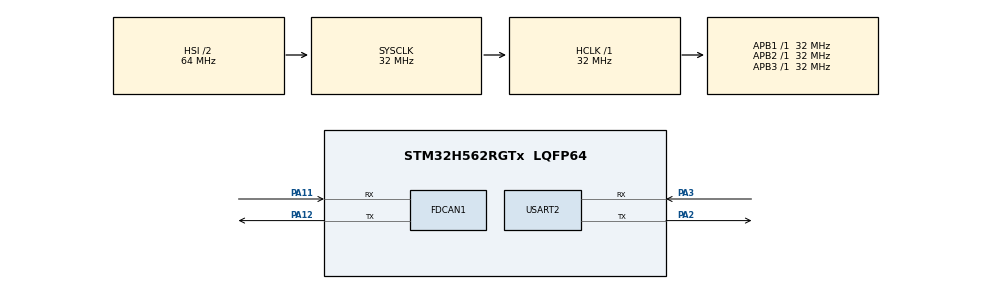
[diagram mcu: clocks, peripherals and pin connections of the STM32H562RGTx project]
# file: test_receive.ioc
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CORTEX_M33_NS.userName=CORTEX_M33
FDCAN1.CalculateBaudRateNominal=312500
FDCAN1.CalculateTimeBitNominal=3200
FDCAN1.CalculateTimeQuantumNominal=640.0
Mcu.Family=STM32H5
Mcu.Name=STM32H562RGTx
Mcu.Package=LQFP64
NVIC.FDCAN1_IT0_IRQn=true\:0\:0\:false\:false\:true\:true\:true\:true
NVIC.FDCAN1_IT1_IRQn=true\:0\:0\:false\:false\:true\:true\:true\:true
NVIC.PriorityGroup=NVIC_PRIORITYGROUP_4
NVIC.USART2_IRQn=true\:0\:0\:false\:false\:true\:true\:true\:true
PA11.Mode=FDCAN_Activate
PA11.Signal=FDCAN1_RX
PA12.Mode=FDCAN_Activate
PA12.Signal=FDCAN1_TX
PA2.Mode=Asynchronous
PA2.Signal=USART2_TX
PA3.Mode=Asynchronous
PA3.Signal=USART2_RX
ProjectManager.HeapSize=0x200
ProjectManager.StackSize=0x400
ProjectManager.TargetToolchain=STM32CubeIDE
RCC.ADCFreq_Value=32000000
RCC.AHBFreq_Value=32000000
RCC.APB1Freq_Value=32000000
RCC.APB1TimFreq_Value=32000000
RCC.APB2Freq_Value=32000000
RCC.APB2TimFreq_Value=32000000
RCC.APB3Freq_Value=32000000
RCC.CSI_VALUE=4000000
RCC.CortexFreq_Value=32000000
RCC.EPOD_VALUE=4000000
RCC.HCLKFreq_Value=32000000
RCC.HSE_VALUE=25000000
RCC.HSI48_VALUE=48000000
RCC.HSI_VALUE=64000000
RCC.LSE_VALUE=32768
RCC.LSIRC_VALUE=32000
RCC.SYSCLKFreq_VALUE=32000000
RCC.USBFreq_Value=48000000
RCC.VCOOutputFreq_Value=516000000
USART2.VirtualMode=VM_ASYNC
VP_BOOTPATH_VS_BOOTPATH.Mode=BP_Activate
VP_MEMORYMAP_VS_MEMORYMAP.Mode=CurAppReg
VP_PWR_VS_DBSignals.Mode=DisableDeadBatterySignals
VP_PWR_VS_LPOM.Mode=PowerOptimisation
VP_PWR_VS_SECSignals.Mode=Security/Privilege
board=custom

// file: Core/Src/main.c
/* USER CODE BEGIN Header */
/**
  ******************************************************************************
  * @file           : main.c
  * @brief          : Main program body
  ******************************************************************************
  * @attention
  *
  * Copyright (c) 2025 STMicroelectronics.
  * All rights reserved.
  *
  * This software is licensed under terms that can be found in the LICENSE file
  * in the root directory of this software component.
  * If no LICENSE file comes with this software, it is provided AS-IS.
  *
  ******************************************************************************
  */
/* USER CODE END Header */
#include "main.h"
#include "stdio.h"
#include "string.h"

FDCAN_HandleTypeDef hfdcan1;

UART_HandleTypeDef huart2;

/* USER CODE BEGIN PV */
FDCAN_RxHeaderTypeDef rx_header;
uint8_t rx_data[8];

void FDCAN_ConfigFilter(void)
{
    FDCAN_FilterTypeDef sFilterConfig;
    sFilterConfig.IdType = FDCAN_STANDARD_ID;
    sFilterConfig.FilterIndex = 0;
    sFilterConfig.FilterType = FDCAN_FILTER_MASK;
    sFilterConfig.FilterConfig = FDCAN_FILTER_TO_RXFIFO0;
    sFilterConfig.FilterID1 = 0x000;
    sFilterConfig.FilterID2 = 0x000;

    if (HAL_FDCAN_ConfigFilter(&hfdcan1, &sFilterConfig) != HAL_OK)
    {
        Error_Handler();
    }
}

void HAL_FDCAN_RxFifo0Callback(FDCAN_HandleTypeDef *hfdcan, uint32_t RxFifo0ITs)
{
    if ((RxFifo0ITs & FDCAN_IT_RX_FIFO0_NEW_MESSAGE) != 0)
    {
        if (HAL_FDCAN_GetRxMessage(hfdcan, FDCAN_RX_FIFO0, &rx_header, rx_data) != HAL_OK)
        {
            return;
        }

        char uart_buf[100];
        snprintf(uart_buf, sizeof(uart_buf), "[CAN RX] ID: 0x%03lX | Data: ", (unsigned long)rx_header.Identifier);
        HAL_UART_Transmit(&huart2, (uint8_t *)uart_buf, strlen(uart_buf), HAL_MAX_DELAY);

        for (int i = 0; i < 8; i++)
        {
            snprintf(uart_buf, sizeof(uart_buf), "%02X ", rx_data[i]);
            HAL_UART_Transmit(&huart2, (uint8_t *)uart_buf, strlen(uart_buf), HAL_MAX_DELAY);
        }
        HAL_UART_Transmit(&huart2, (uint8_t *)"\r\n", 2, HAL_MAX_DELAY);
    }
}
/* USER CODE END PV */

void SystemClock_Config(void);
static void MX_GPIO_Init(void);
static void MX_FDCAN1_Init(void);
static void MX_USART2_UART_Init(void);

int main(void)
{

  /* MCU Configuration--------------------------------------------------------*/

  /* Reset of all peripherals, Initializes the Flash interface and the Systick. */
  HAL_Init();

  /* Configure the system clock */
  SystemClock_Config();

  /* Initialize all configured peripherals */
  MX_GPIO_Init();
  MX_FDCAN1_Init();
  MX_USART2_UART_Init();

  FDCAN_ConfigFilter();

     if (HAL_FDCAN_Start(&hfdcan1) != HAL_OK)
     {
         Error_Handler();
     }

     if (HAL_FDCAN_ActivateNotification(&hfdcan1, FDCAN_IT_RX_FIFO0_NEW_MESSAGE, 0) != HAL_OK)
     {
         Error_Handler();
     }

     char startMsg[] = "CAN Receiver Started\r\n";
     HAL_UART_Transmit(&huart2, (uint8_t *)startMsg, strlen(startMsg), HAL_MAX_DELAY);

     while (1)
     {
     }
}

void SystemClock_Config(void)
{
  RCC_OscInitTypeDef RCC_OscInitStruct = {0};
  RCC_ClkInitTypeDef RCC_ClkInitStruct = {0};

  /** Configure the main internal regulator output voltage
  */
  __HAL_PWR_VOLTAGESCALING_CONFIG(PWR_REGULATOR_VOLTAGE_SCALE3);

  while(!__HAL_PWR_GET_FLAG(PWR_FLAG_VOSRDY)) {}

  /** Initializes the RCC Oscillators according to the specified parameters
  * in the RCC_OscInitTypeDef structure.
  */
  RCC_OscInitStruct.OscillatorType = RCC_OSCILLATORTYPE_HSI|RCC_OSCILLATORTYPE_HSE;
  RCC_OscInitStruct.HSEState = RCC_HSE_OFF;
  RCC_OscInitStruct.HSIState = RCC_HSI_ON;
  RCC_OscInitStruct.HSIDiv = RCC_HSI_DIV2;
  RCC_OscInitStruct.HSICalibrationValue = RCC_HSICALIBRATION_DEFAULT;
  RCC_OscInitStruct.PLL.PLLState = RCC_PLL_NONE;
  if (HAL_RCC_OscConfig(&RCC_OscInitStruct) != HAL_OK)
  {
    Error_Handler();
  }

  /** Initializes the CPU, AHB and APB buses clocks
  */
  RCC_ClkInitStruct.ClockType = RCC_CLOCKTYPE_HCLK|RCC_CLOCKTYPE_SYSCLK
                              |RCC_CLOCKTYPE_PCLK1|RCC_CLOCKTYPE_PCLK2
                              |RCC_CLOCKTYPE_PCLK3;
  RCC_ClkInitStruct.SYSCLKSource = RCC_SYSCLKSOURCE_HSI;
  RCC_ClkInitStruct.AHBCLKDivider = RCC_SYSCLK_DIV1;
  RCC_ClkInitStruct.APB1CLKDivider = RCC_HCLK_DIV1;
  RCC_ClkInitStruct.APB2CLKDivider = RCC_HCLK_DIV1;
  RCC_ClkInitStruct.APB3CLKDivider = RCC_HCLK_DIV1;

  if (HAL_RCC_ClockConfig(&RCC_ClkInitStruct, FLASH_LATENCY_1) != HAL_OK)
  {
    Error_Handler();
  }
}

static void MX_FDCAN1_Init(void)
{

  hfdcan1.Instance = FDCAN1;
  hfdcan1.Init.ClockDivider = FDCAN_CLOCK_DIV1;
  hfdcan1.Init.FrameFormat = FDCAN_FRAME_CLASSIC;
  hfdcan1.Init.Mode = FDCAN_MODE_NORMAL;
  hfdcan1.Init.AutoRetransmission = DISABLE;
  hfdcan1.Init.TransmitPause = DISABLE;
  hfdcan1.Init.ProtocolException = DISABLE;
  hfdcan1.Init.NominalPrescaler = 16;
  hfdcan1.Init.NominalSyncJumpWidth = 1;
  hfdcan1.Init.NominalTimeSeg1 = 2;
  hfdcan1.Init.NominalTimeSeg2 = 2;
  hfdcan1.Init.DataPrescaler = 1;
  hfdcan1.Init.DataSyncJumpWidth = 1;
  hfdcan1.Init.DataTimeSeg1 = 1;
  hfdcan1.Init.DataTimeSeg2 = 1;
  hfdcan1.Init.StdFiltersNbr = 0;
  hfdcan1.Init.ExtFiltersNbr = 0;
  hfdcan1.Init.TxFifoQueueMode = FDCAN_TX_FIFO_OPERATION;
  if (HAL_FDCAN_Init(&hfdcan1) != HAL_OK)
  {
    Error_Handler();
  }

}

static void MX_USART2_UART_Init(void)
{

  huart2.Instance = USART2;
  huart2.Init.BaudRate = 115200;
  huart2.Init.WordLength = UART_WORDLENGTH_8B;
  huart2.Init.StopBits = UART_STOPBITS_1;
  huart2.Init.Parity = UART_PARITY_NONE;
  huart2.Init.Mode = UART_MODE_TX_RX;
  huart2.Init.HwFlowCtl = UART_HWCONTROL_NONE;
  huart2.Init.OverSampling = UART_OVERSAMPLING_16;
  huart2.Init.OneBitSampling = UART_ONE_BIT_SAMPLE_DISABLE;
  huart2.Init.ClockPrescaler = UART_PRESCALER_DIV1;
  huart2.AdvancedInit.AdvFeatureInit = UART_ADVFEATURE_NO_INIT;
  if (HAL_UART_Init(&huart2) != HAL_OK)
  {
    Error_Handler();
  }
  if (HAL_UARTEx_SetTxFifoThreshold(&huart2, UART_TXFIFO_THRESHOLD_1_8) != HAL_OK)
  {
    Error_Handler();
  }
  if (HAL_UARTEx_SetRxFifoThreshold(&huart2, UART_RXFIFO_THRESHOLD_1_8) != HAL_OK)
  {
    Error_Handler();
  }
  if (HAL_UARTEx_DisableFifoMode(&huart2) != HAL_OK)
  {
    Error_Handler();
  }

}

static void MX_GPIO_Init(void)
{

  /* GPIO Ports Clock Enable */
  __HAL_RCC_GPIOA_CLK_ENABLE();

}

void Error_Handler(void)
{
  __disable_irq();
  while (1)
  {
  }
}
